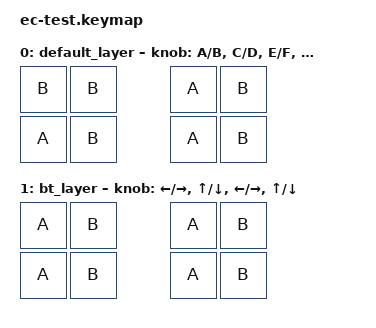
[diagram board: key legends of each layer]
#define ZMK_POINTING_DEFAULT_MOVE_VAL 800
#define ZMK_POINTING_DEFAULT_SCRL_VAL 120

#include <input/processors.dtsi>
#include <zephyr/dt-bindings/input/input-event-codes.h>
#include <behaviors.dtsi>
#include <dt-bindings/zmk/keys.h>

/ {
    keymap {
        compatible = "zmk,keymap";

        default_layer {
            bindings = <
&kp B  &kp B  &kp A  &kp B
&kp A  &kp B  &kp A  &kp B
            >;

            sensor-bindings = <
        &inc_dec_kp A B
        &inc_dec_kp C D
        &inc_dec_kp E F
        &inc_dec_kp G H
            >;
        };

        bt_layer {
            bindings = <
&kp A  &kp B  &kp A  &kp B
&kp A  &kp B  &kp A  &kp B
            >;

            sensor-bindings = <
        &inc_dec_kp LEFT_ARROW RIGHT_ARROW
        &inc_dec_kp UP_ARROW   DOWN_ARROW
        &inc_dec_kp LEFT_ARROW RIGHT_ARROW
        &inc_dec_kp UP_ARROW   DOWN_ARROW
            >;
        };
    };
};
